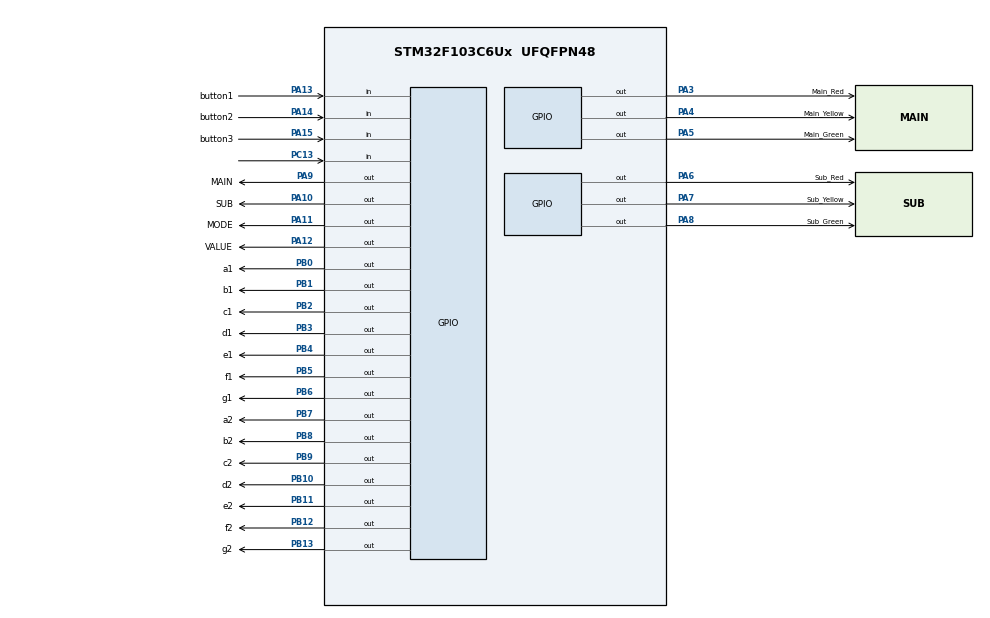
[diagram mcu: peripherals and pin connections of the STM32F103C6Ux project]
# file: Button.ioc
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Mcu.Family=STM32F1
Mcu.Name=STM32F103C6Ux
Mcu.Package=UFQFPN48
NVIC.PriorityGroup=NVIC_PRIORITYGROUP_4
NVIC.TIM2_IRQn=true\:0\:0\:false\:false\:true\:true\:true
PA10.GPIO_Label=SUB
PA10.Signal=GPIO_Output
PA11.GPIO_Label=MODE
PA11.Signal=GPIO_Output
PA12.GPIO_Label=VALUE
PA12.Signal=GPIO_Output
PA13.GPIO_Label=button1
PA13.GPIO_PuPd=GPIO_PULLUP
PA13.Signal=GPIO_Input
PA14.GPIO_Label=button2
PA14.GPIO_PuPd=GPIO_PULLUP
PA14.Signal=GPIO_Input
PA15.GPIO_Label=button3
PA15.GPIO_PuPd=GPIO_PULLUP
PA15.Signal=GPIO_Input
PA3.GPIO_Label=Main_Red
PA3.Signal=GPIO_Output
PA4.GPIO_Label=Main_Yellow
PA4.Signal=GPIO_Output
PA5.GPIO_Label=Main_Green
PA5.Signal=GPIO_Output
PA6.GPIO_Label=Sub_Red
PA6.Signal=GPIO_Output
PA7.GPIO_Label=Sub_Yellow
PA7.Signal=GPIO_Output
PA8.GPIO_Label=Sub_Green
PA8.Signal=GPIO_Output
PA9.GPIO_Label=MAIN
PA9.Signal=GPIO_Output
PB0.GPIO_Label=a1
PB0.Signal=GPIO_Output
PB1.GPIO_Label=b1
PB1.Signal=GPIO_Output
PB10.GPIO_Label=d2
PB10.Signal=GPIO_Output
PB11.GPIO_Label=e2
PB11.Signal=GPIO_Output
PB12.GPIO_Label=f2
PB12.Signal=GPIO_Output
PB13.GPIO_Label=g2
PB13.Signal=GPIO_Output
PB2.GPIO_Label=c1
PB2.Signal=GPIO_Output
PB3.GPIO_Label=d1
PB3.Signal=GPIO_Output
PB4.GPIO_Label=e1
PB4.Signal=GPIO_Output
PB5.GPIO_Label=f1
PB5.Signal=GPIO_Output
PB6.GPIO_Label=g1
PB6.Signal=GPIO_Output
PB7.GPIO_Label=a2
PB7.Signal=GPIO_Output
PB8.GPIO_Label=b2
PB8.Signal=GPIO_Output
PB9.GPIO_Label=c2
PB9.Signal=GPIO_Output
PC13-TAMPER-RTC.GPIO_PuPd=GPIO_PULLUP
PC13-TAMPER-RTC.Signal=GPIO_Input
ProjectManager.HeapSize=0x200
ProjectManager.StackSize=0x400
ProjectManager.TargetToolchain=STM32CubeIDE
RCC.APB1Freq_Value=8000000
RCC.APB2Freq_Value=8000000
TIM2.Period=9
TIM2.Prescaler=7999
VP_SYS_VS_ND.Mode=No_Debug
VP_TIM2_VS_ClockSourceINT.Mode=Internal
board=custom

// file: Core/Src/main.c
/* USER CODE BEGIN Header */
/**
  ******************************************************************************
  * @file           : main.c
  * @brief          : Main program body
  ******************************************************************************
  * @attention
  *
  * <h2><center>&copy; Copyright (c) 2022 STMicroelectronics.
  * All rights reserved.</center></h2>
  *
  * This software component is licensed by ST under BSD 3-Clause license,
  * the "License"; You may not use this file except in compliance with the
  * License. You may obtain a copy of the License at:
  *                        opensource.org/licenses/BSD-3-Clause
  *
  ******************************************************************************
  */
/* USER CODE END Header */
#include "main.h"

/* USER CODE BEGIN Includes */
//#include "button.h"
#include "global.h"
#include "fsm_automatic.h"
#include "fsm_manual.h"
/* USER CODE END Includes */

TIM_HandleTypeDef htim2;

void SystemClock_Config(void);
static void MX_TIM2_Init(void);
static void MX_GPIO_Init(void);
/* USER CODE BEGIN PFP */
void display7SEG_1(int);
void display7SEG_2(int);
void update7SEG(int);
/* USER CODE END PFP */

/* USER CODE BEGIN 0 */
uint8_t segNumber[10] = {
		0x40,
		0x79,
		0x24,
		0x30,
		0x19,
		0x12,
		0x02,
		0x78,
		0x00,
		0x10
};
/* USER CODE END 0 */

int main(void)
{

  /* MCU Configuration--------------------------------------------------------*/

  /* Reset of all peripherals, Initializes the Flash interface and the Systick. */
  HAL_Init();

  /* Configure the system clock */
  SystemClock_Config();

  /* Initialize all configured peripherals */
  MX_TIM2_Init();
  MX_GPIO_Init();
  /* USER CODE BEGIN 2 */
  HAL_TIM_Base_Start_IT(&htim2);
  /* USER CODE END 2 */

  /* Infinite loop */
  /* USER CODE BEGIN WHILE */
  /*Ex1*/
  main_status = INIT;
  sub_status = INIT;
  mode = NORMAL_MODE;
  setTimer3(20);
  setTimer5(100);
  int index = 0;
  while (1)
  {
	if (isKey1Pressed() == 1) {
		setTimer5(25);
		setTimer6(50);
	}

	fsm_automatic_run();
	fsm_manual_run();

	if (timer5_flag == 1) {
		setTimer5(100);
		if (time_main > 0) {
			time_main--;
		}
		if (time_sub > 0) {
			time_sub--;
		}
		if (button3_flag == 1) {
			value--;
		}
	}

	if (timer3_flag == 1) {
		setTimer3(50);
		update7SEG(index);
		index += 1;
		if (index >= 4) {
			index = 0;
		}
	}

	/* USER CODE END WHILE */

  }
}

void SystemClock_Config(void)
{
  RCC_OscInitTypeDef RCC_OscInitStruct = {0};
  RCC_ClkInitTypeDef RCC_ClkInitStruct = {0};

  /** Initializes the RCC Oscillators according to the specified parameters
  * in the RCC_OscInitTypeDef structure.
  */
  RCC_OscInitStruct.OscillatorType = RCC_OSCILLATORTYPE_HSI;
  RCC_OscInitStruct.HSIState = RCC_HSI_ON;
  RCC_OscInitStruct.HSICalibrationValue = RCC_HSICALIBRATION_DEFAULT;
  RCC_OscInitStruct.PLL.PLLState = RCC_PLL_NONE;
  if (HAL_RCC_OscConfig(&RCC_OscInitStruct) != HAL_OK)
  {
    Error_Handler();
  }
  /** Initializes the CPU, AHB and APB buses clocks
  */
  RCC_ClkInitStruct.ClockType = RCC_CLOCKTYPE_HCLK|RCC_CLOCKTYPE_SYSCLK
                              |RCC_CLOCKTYPE_PCLK1|RCC_CLOCKTYPE_PCLK2;
  RCC_ClkInitStruct.SYSCLKSource = RCC_SYSCLKSOURCE_HSI;
  RCC_ClkInitStruct.AHBCLKDivider = RCC_SYSCLK_DIV1;
  RCC_ClkInitStruct.APB1CLKDivider = RCC_HCLK_DIV1;
  RCC_ClkInitStruct.APB2CLKDivider = RCC_HCLK_DIV1;

  if (HAL_RCC_ClockConfig(&RCC_ClkInitStruct, FLASH_LATENCY_0) != HAL_OK)
  {
    Error_Handler();
  }
}

static void MX_TIM2_Init(void)
{

  TIM_ClockConfigTypeDef sClockSourceConfig = {0};
  TIM_MasterConfigTypeDef sMasterConfig = {0};

  htim2.Instance = TIM2;
  htim2.Init.Prescaler = 7999;
  htim2.Init.CounterMode = TIM_COUNTERMODE_UP;
  htim2.Init.Period = 9;
  htim2.Init.ClockDivision = TIM_CLOCKDIVISION_DIV1;
  htim2.Init.AutoReloadPreload = TIM_AUTORELOAD_PRELOAD_DISABLE;
  if (HAL_TIM_Base_Init(&htim2) != HAL_OK)
  {
    Error_Handler();
  }
  sClockSourceConfig.ClockSource = TIM_CLOCKSOURCE_INTERNAL;
  if (HAL_TIM_ConfigClockSource(&htim2, &sClockSourceConfig) != HAL_OK)
  {
    Error_Handler();
  }
  sMasterConfig.MasterOutputTrigger = TIM_TRGO_RESET;
  sMasterConfig.MasterSlaveMode = TIM_MASTERSLAVEMODE_DISABLE;
  if (HAL_TIMEx_MasterConfigSynchronization(&htim2, &sMasterConfig) != HAL_OK)
  {
    Error_Handler();
  }

}

static void MX_GPIO_Init(void)
{
  GPIO_InitTypeDef GPIO_InitStruct = {0};

  /* GPIO Ports Clock Enable */
  __HAL_RCC_GPIOC_CLK_ENABLE();
  __HAL_RCC_GPIOA_CLK_ENABLE();
  __HAL_RCC_GPIOB_CLK_ENABLE();

  /*Configure GPIO pin Output Level */
  HAL_GPIO_WritePin(GPIOA, Main_Red_Pin|Main_Yellow_Pin|Main_Green_Pin|Sub_Red_Pin
                          |Sub_Yellow_Pin|Sub_Green_Pin|MAIN_Pin|SUB_Pin
                          |MODE_Pin|VALUE_Pin, GPIO_PIN_RESET);

  /*Configure GPIO pin Output Level */
  HAL_GPIO_WritePin(GPIOB, a1_Pin|b1_Pin|c1_Pin|d2_Pin
                          |e2_Pin|f2_Pin|g2_Pin|d1_Pin
                          |e1_Pin|f1_Pin|g1_Pin|a2_Pin
                          |b2_Pin|c2_Pin, GPIO_PIN_RESET);

  /*Configure GPIO pin : PC13 */
  GPIO_InitStruct.Pin = GPIO_PIN_13;
  GPIO_InitStruct.Mode = GPIO_MODE_INPUT;
  GPIO_InitStruct.Pull = GPIO_PULLUP;
  HAL_GPIO_Init(GPIOC, &GPIO_InitStruct);

  /*Configure GPIO pins : Main_Red_Pin Main_Yellow_Pin Main_Green_Pin Sub_Red_Pin
                           Sub_Yellow_Pin Sub_Green_Pin MAIN_Pin SUB_Pin
                           MODE_Pin VALUE_Pin */
  GPIO_InitStruct.Pin = Main_Red_Pin|Main_Yellow_Pin|Main_Green_Pin|Sub_Red_Pin
                          |Sub_Yellow_Pin|Sub_Green_Pin|MAIN_Pin|SUB_Pin
                          |MODE_Pin|VALUE_Pin;
  GPIO_InitStruct.Mode = GPIO_MODE_OUTPUT_PP;
  GPIO_InitStruct.Pull = GPIO_NOPULL;
  GPIO_InitStruct.Speed = GPIO_SPEED_FREQ_LOW;
  HAL_GPIO_Init(GPIOA, &GPIO_InitStruct);

  /*Configure GPIO pins : a1_Pin b1_Pin c1_Pin d2_Pin
                           e2_Pin f2_Pin g2_Pin d1_Pin
                           e1_Pin f1_Pin g1_Pin a2_Pin
                           b2_Pin c2_Pin */
  GPIO_InitStruct.Pin = a1_Pin|b1_Pin|c1_Pin|d2_Pin
                          |e2_Pin|f2_Pin|g2_Pin|d1_Pin
                          |e1_Pin|f1_Pin|g1_Pin|a2_Pin
                          |b2_Pin|c2_Pin;
  GPIO_InitStruct.Mode = GPIO_MODE_OUTPUT_PP;
  GPIO_InitStruct.Pull = GPIO_NOPULL;
  GPIO_InitStruct.Speed = GPIO_SPEED_FREQ_LOW;
  HAL_GPIO_Init(GPIOB, &GPIO_InitStruct);

  /*Configure GPIO pins : button1_Pin button2_Pin button3_Pin */
  GPIO_InitStruct.Pin = button1_Pin|button2_Pin|button3_Pin;
  GPIO_InitStruct.Mode = GPIO_MODE_INPUT;
  GPIO_InitStruct.Pull = GPIO_PULLUP;
  HAL_GPIO_Init(GPIOA, &GPIO_InitStruct);

}

/* USER CODE BEGIN 4 */
void display7SEG_1(int num) {
	HAL_GPIO_WritePin(a1_GPIO_Port, a1_Pin, (segNumber[num]>>0) & 0x01);
	HAL_GPIO_WritePin(b1_GPIO_Port, b1_Pin, (segNumber[num]>>1) & 0x01);
	HAL_GPIO_WritePin(c1_GPIO_Port, c1_Pin, (segNumber[num]>>2) & 0x01);
	HAL_GPIO_WritePin(d1_GPIO_Port, d1_Pin, (segNumber[num]>>3) & 0x01);
	HAL_GPIO_WritePin(e1_GPIO_Port, e1_Pin, (segNumber[num]>>4) & 0x01);
	HAL_GPIO_WritePin(f1_GPIO_Port, f1_Pin, (segNumber[num]>>5) & 0x01);
	HAL_GPIO_WritePin(g1_GPIO_Port, g1_Pin, (segNumber[num]>>6) & 0x01);
}

void display7SEG_2(int num) {
	HAL_GPIO_WritePin(a2_GPIO_Port, a2_Pin, (segNumber[num]>>0) & 0x01);
	HAL_GPIO_WritePin(b2_GPIO_Port, b2_Pin, (segNumber[num]>>1) & 0x01);
	HAL_GPIO_WritePin(c2_GPIO_Port, c2_Pin, (segNumber[num]>>2) & 0x01);
	HAL_GPIO_WritePin(d2_GPIO_Port, d2_Pin, (segNumber[num]>>3) & 0x01);
	HAL_GPIO_WritePin(e2_GPIO_Port, e2_Pin, (segNumber[num]>>4) & 0x01);
	HAL_GPIO_WritePin(f2_GPIO_Port, f2_Pin, (segNumber[num]>>5) & 0x01);
	HAL_GPIO_WritePin(g2_GPIO_Port, g2_Pin, (segNumber[num]>>6) & 0x01);
}
/*
 * index 0 : display 7SEG on MAIN road
 * index 1 : display 7SEG on SUB road
 * index 2 : display Mode
 * index 3 : display value
 * */
void update7SEG(int index) {
	switch (index) {
		case 0:
			HAL_GPIO_WritePin(MAIN_GPIO_Port, MAIN_Pin, 0);
			HAL_GPIO_WritePin(SUB_GPIO_Port, SUB_Pin, 1);
			HAL_GPIO_WritePin(MODE_GPIO_Port, MODE_Pin, 1);
			HAL_GPIO_WritePin(VALUE_GPIO_Port, VALUE_Pin, 1);
			display7SEG_1(time_main / 10);
			display7SEG_2(time_main % 10);
			break;
		case 1:
			HAL_GPIO_WritePin(MAIN_GPIO_Port, MAIN_Pin, 1);
			HAL_GPIO_WritePin(SUB_GPIO_Port, SUB_Pin, 0);
			HAL_GPIO_WritePin(MODE_GPIO_Port, MODE_Pin, 1);
			HAL_GPIO_WritePin(VALUE_GPIO_Port, VALUE_Pin, 1);
			display7SEG_1(time_sub / 10);
			display7SEG_2(time_sub % 10);
			break;
		case 2:
			HAL_GPIO_WritePin(MAIN_GPIO_Port, MAIN_Pin, 1);
			HAL_GPIO_WritePin(SUB_GPIO_Port, SUB_Pin, 1);
			HAL_GPIO_WritePin(MODE_GPIO_Port, MODE_Pin, 0);
			HAL_GPIO_WritePin(VALUE_GPIO_Port, VALUE_Pin, 1);
			display7SEG_1(0);
			display7SEG_2(mode);
			break;
		case 3:
			HAL_GPIO_WritePin(MAIN_GPIO_Port, MAIN_Pin, 1);
			HAL_GPIO_WritePin(SUB_GPIO_Port, SUB_Pin, 1);
			HAL_GPIO_WritePin(MODE_GPIO_Port, MODE_Pin, 1);
			HAL_GPIO_WritePin(VALUE_GPIO_Port, VALUE_Pin, 0);
			display7SEG_1(value / 10);
			display7SEG_2(value % 10);
			break;
		default:
			break;
	}
}

void HAL_TIM_PeriodElapsedCallback(TIM_HandleTypeDef *htim) {
	timerRun();
	getKeyInput1();
	getKeyInput2();
	getKeyInput3();
}
/* USER CODE END 4 */

void Error_Handler(void)
{
  __disable_irq();
  while (1)
  {
  }
}

/************************ (C) COPYRIGHT STMicroelectronics *****END OF FILE****/
